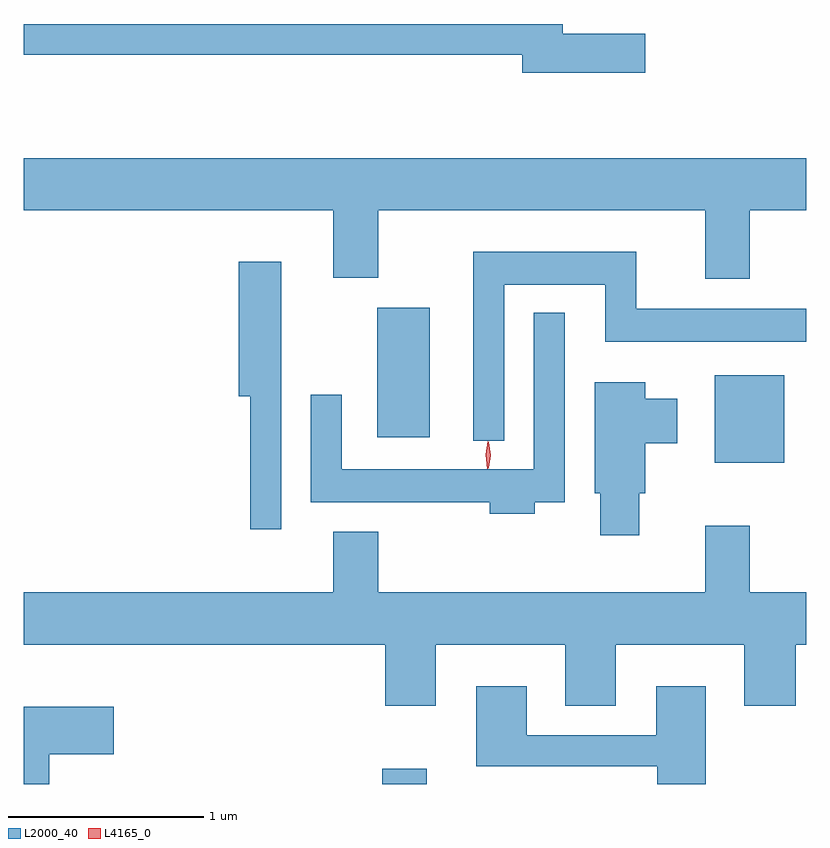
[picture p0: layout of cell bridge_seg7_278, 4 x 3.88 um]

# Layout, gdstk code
import gdstk
lib = gdstk.Library(unit=1e-6, precision=1e-09)
def R(c, l, rs):  # rectangles x0, y0, x1, y1
    for r in rs: c.add(gdstk.rectangle(r[:2], r[2:], *l))
def P(c, l, *ps):  # polygons
    for p in ps: c.add(gdstk.Polygon(p, *l))
L2000_40 = (2000, 40)
L4165_0 = (4165, 0)

bridge_seg7_278 = lib.new_cell('bridge_seg7_278')
R(bridge_seg7_278, L2000_40, [(1341.941,1777.985,1342.169,1778.064), (1343.641,1779.626,1343.994,1780.074), (1341.916,1779.756,1342.184,1780.419)])
P(bridge_seg7_278, L2000_40, [(1343.284,1781.819),(1342.864,1781.819),(1342.864,1781.869),(1340.108,1781.869),(1340.108,1781.711),(1342.656,1781.711),(1342.656,1781.621),(1343.284,1781.621)],
  [(1343.819,1780.916),(1344.108,1780.916),(1344.108,1781.184),(1340.108,1781.184),(1340.108,1780.916),(1341.691,1780.916),(1341.691,1780.571),(1341.919,1780.571),(1341.919,1780.916),(1343.591,1780.916),(1343.591,1780.566),(1343.819,1780.566)],
  [(1342.564,1780.536),(1343.081,1780.536),(1343.081,1780.246),(1344.108,1780.246),(1344.108,1780.414),(1343.239,1780.414),(1343.239,1780.704),(1342.406,1780.704),(1342.406,1779.738),(1342.564,1779.738)],
  [(1341.424,1780.654),(1341.206,1780.654),(1341.206,1779.966),(1341.266,1779.966),(1341.266,1779.288),(1341.424,1779.288)],
  [(1342.719,1779.426),(1342.874,1779.426),(1342.874,1780.393),(1342.716,1780.393),(1342.716,1779.594),(1341.734,1779.594),(1341.734,1779.973),(1341.576,1779.973),(1341.576,1779.426),(1342.491,1779.426),(1342.491,1779.366),(1342.719,1779.366)],
  [(1343.254,1779.471),(1343.284,1779.471),(1343.284,1779.726),(1343.449,1779.726),(1343.449,1779.954),(1343.284,1779.954),(1343.284,1780.039),(1343.026,1780.039),(1343.026,1779.471),(1343.056,1779.471),(1343.056,1779.256),(1343.254,1779.256)],
  [(1342.214,1778.696),(1342.876,1778.696),(1342.876,1778.386),(1343.134,1778.386),(1343.134,1778.696),(1343.791,1778.696),(1343.791,1778.386),(1344.054,1778.386),(1344.054,1778.696),(1344.108,1778.696),(1344.108,1778.964),(1343.819,1778.964),(1343.819,1779.304),(1343.591,1779.304),(1343.591,1778.964),(1341.919,1778.964),(1341.919,1779.274),(1341.691,1779.274),(1341.691,1778.964),(1340.108,1778.964),(1340.108,1778.696),(1341.956,1778.696),(1341.956,1778.386),(1342.214,1778.386)],
  [(1343.594,1778.484),(1343.341,1778.484),(1343.341,1778.234),(1342.679,1778.234),(1342.679,1778.484),(1342.421,1778.484),(1342.421,1778.076),(1343.346,1778.076),(1343.346,1777.985),(1343.594,1777.985)],
  [(1340.239,1778.136),(1340.569,1778.136),(1340.569,1778.379),(1340.108,1778.379),(1340.108,1777.985),(1340.239,1777.985)])
P(bridge_seg7_278, L4165_0, [(1342.478,1779.597),(1342.469,1779.667),(1342.479,1779.736),(1342.48,1779.736),(1342.48,1779.736),(1342.489,1779.667),(1342.479,1779.597),(1342.479,1779.597)],
  [(1342.484,1779.599),(1342.483,1779.6),(1342.474,1779.666),(1342.483,1779.732),(1342.484,1779.733),(1342.484,1779.732),(1342.494,1779.666),(1342.484,1779.6)])

lib.write_gds('bridge_seg7_278.gds')
